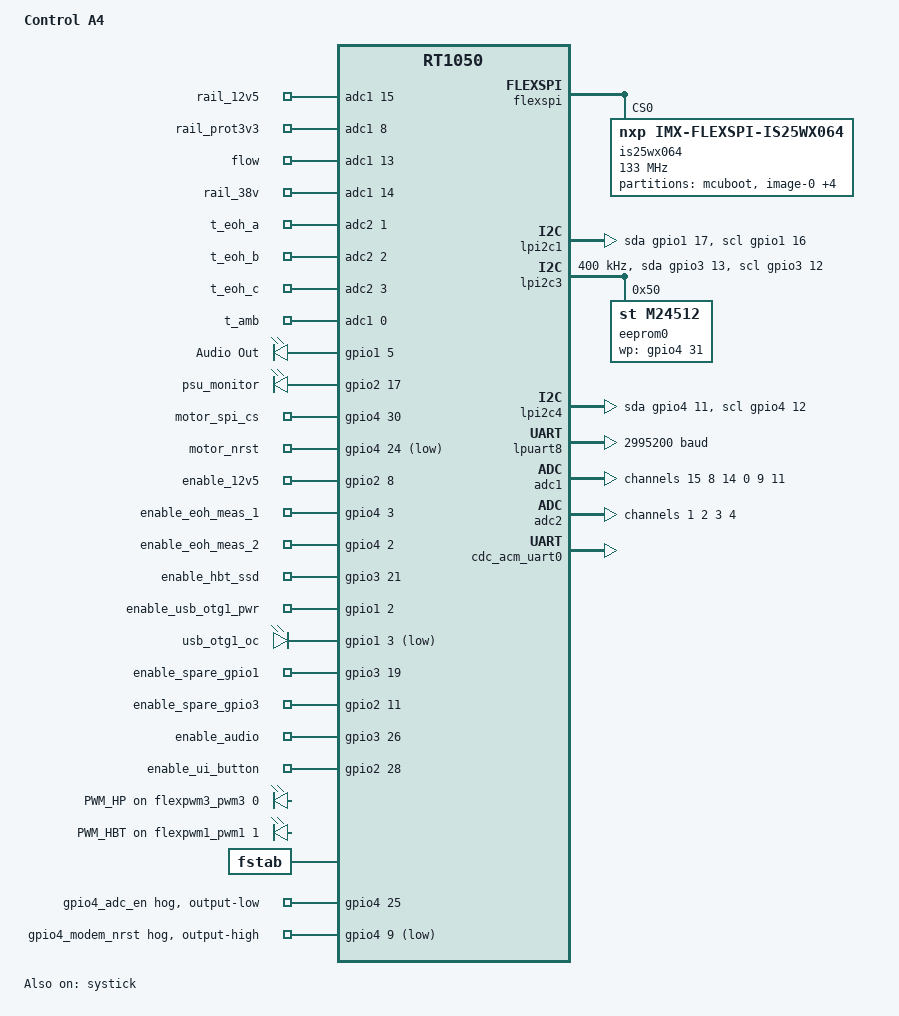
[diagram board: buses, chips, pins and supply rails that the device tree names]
/*
 * Copyright (c) 2017, NXP
 * SPDX-License-Identifier: Apache-2.0
 */

/dts-v1/;

#include <nxp/nxp_rt1050.dtsi>
#include <nxp/nxp_imx/rt/mimxrt1052cvl5b-pinctrl.dtsi> 

#include <zephyr/dt-bindings/adc/adc.h>
#include <zephyr/dt-bindings/pwm/pwm.h>
#include <zephyr/dt-bindings/spi/spi.h>
#include <zephyr/dt-bindings/memory-attr/memory-attr-arm.h>

/ {
  model = "Control A4";
  compatible = "fph,control_a4";

  aliases {
    watchdog0 = &wdog0;
    eeprom-0 = &eeprom0;
  };

  // TODO See if it's appropriate to choose these in targets repo.
  chosen {
    zephyr,sram = &dtcm;
    zephyr,itcm = &itcm;
    zephyr,dtcm = &dtcm;
    zephyr,flash-controller = &is25wx064;
    zephyr,flash = &is25wx064;
    zephyr,code-partition = &slot0_partition;
  };

  control_board: control_board {};

  zephyr,user {
    io-channels =      <&adc1 15    &adc1 8         &adc1 13 &adc1 14    &adc2 1    &adc2 2    &adc2 3    &adc1 0  &adc1 9 &adc2 4>;
    io-channel-names = "rail_12v5", "rail_prot3v3", "flow",  "rail_38v", "t_eoh_a", "t_eoh_b", "t_eoh_c", "t_amb", "t_hp", "t_cham_out";
  };

	gpios {
		compatible = "gpio-leds";
		gpio_audio_out: gpio_audio_out {
			gpios = <&gpio1 5 GPIO_ACTIVE_HIGH>;
			label = "Audio Out";
		};
    psu_monitor: psu_monitor {
      gpios = <&gpio2 17 GPIO_ACTIVE_HIGH>;
    };
    motor_spi_cs: motor_spi_cs {
      gpios = <&gpio4 30 GPIO_ACTIVE_HIGH>;
    };
    motor_nrst: motor_nrst {
      gpios = <&gpio4 24 GPIO_ACTIVE_LOW>;
    };
    enable_12v5: gpio_enable_12v5 {
      gpios = <&gpio2 8 GPIO_ACTIVE_HIGH>;
    };
    enable_eoh_meas_1: gpio_eoh_meas_en1 {
      gpios = <&gpio4 3 GPIO_ACTIVE_HIGH>;
    };
    enable_eoh_meas_2: gpio_eoh_meas_en2 {
      gpios = <&gpio4 2 GPIO_ACTIVE_HIGH>;
    };
    enable_hbt_ssd: gpio_hbt_ssd_en_c {
      gpios = <&gpio3 21 GPIO_ACTIVE_HIGH>;
    };
    enable_usb_otg1_pwr: gpio_enable_usb_otg1_pwr {
      gpios = <&gpio1 2 GPIO_ACTIVE_HIGH>;
    };
    usb_otg1_oc: gpio_usb_otg1_oc {
      gpios = <&gpio1 3 GPIO_ACTIVE_LOW>;
    };
    // TODO Renamed to TEST_MODE
    enable_spare_gpio1: gpio_enable_spare_gpio2 {
      gpios = <&gpio3 19 GPIO_ACTIVE_HIGH>; // TP520
    };
    enable_spare_gpio3: gpio_enable_spare_gpio5 {
      gpios = <&gpio2 11 GPIO_ACTIVE_HIGH>; // TP508
    };
    enable_audio: gpio_enable_audio {
      gpios = <&gpio3 26 GPIO_ACTIVE_HIGH>;
    };
    enable_ui_button: gpio_enable_ui_button {
      gpios = <&gpio2 28 GPIO_ACTIVE_HIGH>;
    };
	};

  pwm {
    compatible = "pwm-leds";

    hp_pwm: hp
    {
      pwms = <&flexpwm3_pwm3 0 PWM_MSEC(2000) PWM_POLARITY_NORMAL>;
      label = "PWM_HP";
    };
    hbt_pwm: hbt
    {
      pwms = <&flexpwm1_pwm1 1 PWM_MSEC(120) PWM_POLARITY_NORMAL>;
      label = "PWM_HBT";
    };
  };

  fstab {
    compatible = "zephyr,fstab";
    store0: store0 {
      compatible = "zephyr,fstab,littlefs";
      partition = <&data_flash_partition0>;
      mount-point = "/store0";
      read-size = <256>;
      prog-size = <256>;
      cache-size = <256>;
      lookahead-size = <512>;
      block-cycles = <100>;
      automount;
      no-format;
    };
  };

  // Resistance(25C): 10KOhm, B-Constant(25/85C): 3434K, Temperature range:0C~ 100C, Step: 1C
  // https://www.murata.com/en-sg/products/productdetail?partno=NCP18XH103F03RB
  // Generated by zephyr/scripts/utils/ntc_thermistor_table.py -r25 10000 -b 3434 -ti 0 -tf 100 -i 1
  // TODO Can this be moved closer to ADC definition?
  chamberout_temp_ntc: chamberout_temp_ntc {
    compatible = "ntc-thermistor-generic";
    status = "disabled";

    io-channels = <&adc2 4>;
    zephyr,compensation-table = <(0) 28695>, <(1) 27409>, <(2) 26189>, <(3) 25032>, <(4) 23933>, <(5) 22891>, <(6) 21900>, <(7) 20959>, <(8) 20065>, <(9) 19215>, <(10) 18407>, <(11) 17638>, <(12) 16906>, <(13) 16209>, <(14) 15545>, <(15) 14913>, <(16) 14311>, <(17) 13737>, <(18) 13190>, <(19) 12668>, <(20) 12170>, <(21) 11695>, <(22) 11241>, <(23) 10808>, <(24) 10395>, <(25) 10000>, <(26) 9622>, <(27) 9261>, <(28) 8916>, <(29) 8585>, <(30) 8269>, <(31) 7967>, <(32) 7678>, <(33) 7401>, <(34) 7135>, <(35) 6881>, <(36) 6637>, <(37) 6404>, <(38) 6180>, <(39) 5965>, <(40) 5759>, <(41) 5562>, <(42) 5372>, <(43) 5190>, <(44) 5015>, <(45) 4847>, <(46) 4686>, <(47) 4531>, <(48) 4382>, <(49) 4239>, <(50) 4102>, <(51) 3969>, <(52) 3842>, <(53) 3720>, <(54) 3602>, <(55) 3489>, <(56) 3379>, <(57) 3274>, <(58) 3173>, <(59) 3075>, <(60) 2981>, <(61) 2891>, <(62) 2804>, <(63) 2719>, <(64) 2638>, <(65) 2560>, <(66) 2484>, <(67) 2411>, <(68) 2341>, <(69) 2273>, <(70) 2208>, <(71) 2144>, <(72) 2083>, <(73) 2024>, <(74) 1967>, <(75) 1912>, <(76) 1859>, <(77) 1807>, <(78) 1758>, <(79) 1709>, <(80) 1663>, <(81) 1618>, <(82) 1574>, <(83) 1532>, <(84) 1491>, <(85) 1452>, <(86) 1413>, <(87) 1376>, <(88) 1340>, <(89) 1306>, <(90) 1272>, <(91) 1239>, <(92) 1208>, <(93) 1177>, <(94) 1147>, <(95) 1119>, <(96) 1091>, <(97) 1064>, <(98) 1037>, <(99) 1012>;
    pulldown-ohm = <0>;
    pullup-ohm = <4700>;    
    pullup-uv = <3300000>;
  };  
};

//
// Under /soc/...
// in thirdparty/zephyrproject/zephyr/dts/arm/nxp/nxp_rt10xx.dtsi
//

&systick {
  // Enable by default, core feature needed by Zephyr RTOS.
  status = "okay";
};

&flexram {
  // The early_init.S subroutine has a fixed configuration value. As we use this in all Waitara-related
  // projects, the flexram,bank-spec property needs to be deleted so that the FLEXRAM_RUNTIME_BANKS_USED
  // define is not enabled.  This define is located in the zephyr repo: drivers/memc/memc_nxp_flexram.h
  // 
  // However, the itcm, dtcm, and ocram nodes redefined below are used by the linker to verify that there is
  // no overflow. 
  itcm: itcm@0 {
    compatible = "zephyr,memory-region", "nxp,imx-itcm";
    reg = <0x00000000 DT_SIZE_K(128)>;
    zephyr,memory-region = "ITCM";
  };
 
  dtcm: dtcm@20000000 {
    compatible = "zephyr,memory-region", "nxp,imx-dtcm";
    reg = <0x20000000 DT_SIZE_K(320)>;
    zephyr,memory-region = "DTCM";
  };
 
  /* Cached OCRAM region */
  ocram_cached: ocram@20200000 {
      compatible = "zephyr,memory-region", "mmio-sram";
      reg = <0x20200000 DT_SIZE_K(32)>; 
      zephyr,memory-region = "OCRAM_CACHED";
  };

  /* Non-cached OCRAM region for DMA access*/
  ocram_nocache: ocram@20208000 {
      compatible = "zephyr,memory-region", "mmio-sram";
      reg = <0x20208000 DT_SIZE_K(32)>; 
      zephyr,memory-region = "OCRAM_NOCACHE";
      zephyr,memory-attr = < DT_MEM_ARM_MPU_RAM_NOCACHE >;
  };

  /delete-property/ flexram,bank-spec;
};

&flexspi {
  // Enable by default, program flash needed for code execution.
  status = "okay";
  pinctrl-0 = <&pinmux_flexspi1>;
  pinctrl-names = "default";
  reg = <0x402a8000 0x4000>, <0x60000000 DT_SIZE_M(8)>;
  ahb-read-addr-opt; // See AHBCR register for more details (Section 27.7.2.5.2 IMX1050 Ref. Manual)
  ahb-prefetch;
  ahb-bufferable;
  ahb-cacheable;
  combination-mode;
  rx-clock-source = <3>;
  is25wx064: is25wx064@0 {
    status = "okay";
    compatible = "nxp,imx-flexspi-is25wx064";
    size = <DT_SIZE_M(8*8)>;
    reg = <0>;
    spi-max-frequency = <133000000>;
    cs-interval = <1>;
    cs-interval-unit = <1>;
    column-space = <0>;
    word-addressable;
    cs-hold-time = <3>;
    cs-setup-time = <3>;
    data-valid-time = <1>;
    erase-block-size = <131072>;
    write-block-size = <32>;

    partitions {
      compatible = "fixed-partitions";
      #address-cells = <1>;
      #size-cells = <1>;

      boot_partition: partition@0 {
        label = "mcuboot";
        reg = <0x00000000 DT_SIZE_K(512)>;
      };
      slot0_partition: partition@80000 {
        label = "image-0";
        reg = <0x00080000 DT_SIZE_M(3)>;
      };
      // Slot swap partition needs be after slot0 to satisfy MCU boot
      // requirement of 1 sector after primary slot for swap-move
      slot_swap_move_partition: partition@380000 {
        label = "image-swap-move-sector";
        reg = <0x00380000 DT_SIZE_K(128)>;
      };
      slot1_partition: partition@3A0000 {
        label = "image-1";
        reg = <0x003A0000 DT_SIZE_M(3)>;
      };
      storage_partition: partition@6A0000 {
        label = "storage";
        reg = <0x006A0000 DT_SIZE_M(1)>;
      };
      coredump_partition: partition@7A0000 {
        reg = <0x007A0000 DT_SIZE_K(256)>;
      };
    };
  };
};

&gpt2 {
  // Base node defined in thirdparty/zephyrproject/zephyr/dts/arm/nxp/nxp_rt10xx.dtsi
  gptfreq = <22000000>; // Pro rata slowdown (600/528 => 25/22)
};

&gpio4 {
  gpio4_adc_en {
    gpio-hog;
    gpios = <25 GPIO_ACTIVE_HIGH>;
    // Default to disabled, let application enable if used.
    output-low;
  };

  gpio4_modem_nrst {
    gpio-hog;
    gpios = <9 GPIO_ACTIVE_LOW>;
    // Default to reset (ie, disabled), let application enable if used.
    output-high;
  };
};

&lpi2c1 {
  pinctrl-0 = <&pinmux_lpi2c1>;
  pinctrl-names = "default";
  
	scl-gpios = <&gpio1 16 GPIO_ACTIVE_HIGH>;
	sda-gpios = <&gpio1 17 GPIO_ACTIVE_HIGH>;

  // I2C devices on sense shield
};

&lpi2c3 {
  pinctrl-0 = <&pinmux_lpi2c3>;

  pinctrl-names = "default";
  clock-frequency = <400000>;
  
	scl-gpios = <&gpio3 12 GPIO_ACTIVE_HIGH>;
	sda-gpios = <&gpio3 13 GPIO_ACTIVE_HIGH>;

  eeprom0: eeprom@50 {
    compatible = "st,m24512", "st,m24xxx", "atmel,at24"; // m24512w is program compatible with at24
    reg = <0x50>;
    size = <DT_SIZE_K(512)>;
    pagesize = <128>;
    address-width = <16>;
    timeout = <5>;
    wp-gpios = <&gpio4 31 GPIO_ACTIVE_HIGH>;
  };
};

&lpi2c4 {
  pinctrl-0 = <&pinmux_lpi2c4>;
  pinctrl-names = "default";

	scl-gpios = <&gpio4 12 GPIO_ACTIVE_HIGH>;
	sda-gpios = <&gpio4 11 GPIO_ACTIVE_HIGH>;
  
  // I2C devices on sense shield
};

&iomuxc{
  pinctrl {
    pinmux_flexspi1: pinmux_flexspi1 {
      group0 {
        pinmux = <&iomuxc_gpio_sd_b1_05_flexspi_a_dqs>;
        drive-strength = "r0-6";
        input-schmitt-enable;
        bias-pull-down;
        bias-pull-down-value = "100k";
        slew-rate = "fast";
        nxp,speed = "200-mhz";
        input-enable;
      };

      group1 {
        pinmux = <&iomuxc_gpio_sd_b1_03_flexspi_b_data0>,
                 <&iomuxc_gpio_sd_b1_00_flexspi_b_data3>,
                 <&iomuxc_gpio_sd_b1_01_flexspi_b_data2>,
                 <&iomuxc_gpio_sd_b1_02_flexspi_b_data1>,
                 <&iomuxc_gpio_sd_b1_04_flexspi_b_sclk>,
                 <&iomuxc_gpio_sd_b1_06_flexspi_a_ss0_b>,
                 <&iomuxc_gpio_sd_b1_07_flexspi_a_sclk>,
                 <&iomuxc_gpio_sd_b1_08_flexspi_a_data0>,
                 <&iomuxc_gpio_sd_b1_09_flexspi_a_data1>,
                 <&iomuxc_gpio_sd_b1_10_flexspi_a_data2>,
                 <&iomuxc_gpio_sd_b1_11_flexspi_a_data3>;
        drive-strength = "r0-6";
        slew-rate = "fast";
        nxp,speed = "200-mhz";
        input-enable;
      };
    };

    pinmux_lpuart8: pinmux_lpuart8 {
      lpuart8_tx_pin {
        pinmux = <&iomuxc_gpio_sd_b0_04_lpuart8_tx>;
        drive-strength = "r0-3";
        nxp,speed = "100-mhz";
        slew-rate = "slow";
      };

      lpuart8_rx_pin {
        pinmux = <&iomuxc_gpio_sd_b0_05_lpuart8_rx>;
        bias-pull-up;
        bias-pull-up-value = "47k";
        drive-strength = "disabled";
        nxp,speed = "100-mhz";
        slew-rate = "slow";
      };

      lpuart8_cts_pin {
        pinmux = <&iomuxc_gpio_sd_b0_02_lpuart8_cts_b>;
        bias-pull-up;
        bias-pull-up-value = "47k";
        drive-strength = "disabled";
        nxp,speed = "100-mhz";
        slew-rate = "slow";
      };

      lpuart8_rts_pin {
        pinmux = <&iomuxc_gpio_sd_b0_03_lpuart8_rts_b>;
        drive-strength = "r0-3";
        nxp,speed = "100-mhz";
        slew-rate = "slow";
      };
    };
  
    pinmux_lpi2c1: pinmux_lpi2c1 {
      group0 {
        pinmux = <&iomuxc_gpio_ad_b1_00_lpi2c1_scl>,    // LSSB I2C1 SCL
                 <&iomuxc_gpio_ad_b1_01_lpi2c1_sda>;    // LSSB I2C1 SDA
        drive-strength = "r0-6";
        drive-open-drain;
        slew-rate = "slow";
        nxp,speed = "100-mhz";
        input-enable;
      };
    };

    pinmux_lpi2c3: pinmux_lpi2c3 {
      group0 {
        pinmux = <&iomuxc_gpio_sd_b0_01_lpi2c3_sda>,
                  <&iomuxc_gpio_sd_b0_00_lpi2c3_scl>;
        drive-strength = "r0-6";
        drive-open-drain;
        slew-rate = "slow";
        nxp,speed = "100-mhz";
        input-enable;
      };
    };

    pinmux_lpi2c4: pinmux_lpi2c4 {
      group0 {
        pinmux = <&iomuxc_gpio_emc_11_lpi2c4_sda>,
                 <&iomuxc_gpio_emc_12_lpi2c4_scl>;
        drive-strength = "r0-6";
        drive-open-drain;
        slew-rate = "slow";
        nxp,speed = "100-mhz";
        input-enable;
      };
    };
  
    pinmux_lpspi1: pinmux_lpspi1 {
      group0 {
        pinmux = <&iomuxc_gpio_emc_30_lpspi1_pcs0>,
                  <&iomuxc_gpio_emc_27_lpspi1_sck>,
                  <&iomuxc_gpio_emc_29_lpspi1_sdi>,
                  <&iomuxc_gpio_emc_28_lpspi1_sdo>;
        drive-strength = "r0-6";
        slew-rate = "slow";
        nxp,speed = "100-mhz";
      };
    };

    pinmux_lpspi3: pinmux_lpspi3 {
      group0 {
        pinmux = <&iomuxc_gpio_ad_b0_00_lpspi3_sck>,
                 <&iomuxc_gpio_ad_b0_01_lpspi3_sdo>;
        drive-strength = "r0-6";
        slew-rate = "slow";
        nxp,speed = "100-mhz";
      };
    };
  
    pinmux_lpspi4: pinmux_lpspi4 {
      group0 {
        pinmux = <&iomuxc_gpio_b0_00_lpspi4_pcs0>,
                  <&iomuxc_gpio_b0_03_lpspi4_sck>,
                  <&iomuxc_gpio_b0_01_lpspi4_sdi>,
                  <&iomuxc_gpio_b0_02_lpspi4_sdo>,
                  <&iomuxc_gpio_b1_02_lpspi4_pcs2>,
                  <&iomuxc_gpio_b1_11_lpspi4_pcs3>;
        drive-strength = "r0-6";
        slew-rate = "slow";
        nxp,speed = "100-mhz";
      };
    };
  
    pinmux_adc1: pinmux_adc1 {
      group0 {
        pinmux = <&iomuxc_gpio_ad_b1_10_adc1_in15>, // 12V5
                 <&iomuxc_gpio_ad_b1_03_adc1_in8>,  // 3V3 Prot.
                 <&iomuxc_gpio_ad_b1_09_adc1_in14>, // 38V
                 <&iomuxc_gpio_ad_b1_11_adc1_in0>,  // Ambient Temperature
                 <&iomuxc_gpio_ad_b1_04_adc1_in9>;  // Heaterplate Temperature
        bias-disable;
        drive-strength = "r0-6";
        slew-rate = "slow";
        nxp,speed = "100-mhz";
      };
    };
  
    pinmux_adc2: pinmux_adc2 {
      group0 {
        pinmux = <&iomuxc_gpio_ad_b1_12_adc2_in1>, // EOH A (End of Hose)
                 <&iomuxc_gpio_ad_b1_13_adc2_in2>, // EOH B
                 <&iomuxc_gpio_ad_b1_14_adc2_in3>, // EOH C
                 <&iomuxc_gpio_ad_b1_15_adc2_in4>; // Chamber out temperature
        bias-disable;
        drive-strength = "r0-6";
        slew-rate = "slow";
        nxp,speed = "100-mhz";
      };
    };
  
    pinmux_usb1: pinmux_usb1 {
      group0 {
        // Only OC and PWR pins can be switched by IOMUXC. DP and DN lines are dedicated and do not need
        // configuration.
        pinmux = <&iomuxc_gpio_ad_b0_03_usb_otg1_oc>,
                 <&iomuxc_gpio_ad_b0_02_usb_otg1_pwr>;
        drive-strength = "r0-6";
        slew-rate = "slow";
        nxp,speed = "150-mhz";
      };
    };
  
    pinmux_hbt: pinmux_flexpwm1 {
      group0 {
        pinmux = <&iomuxc_gpio_emc_26_flexpwm1_pwmb1>;
        drive-strength = "r0";
        bias-pull-down;
        bias-pull-down-value = "100k";
        slew-rate = "slow";
        nxp,speed = "100-mhz";
      };
    };
  
    pinmux_hp: pinmux_flexpwm3 {
      group0 {
        pinmux = <&iomuxc_gpio_emc_21_flexpwm3_pwma3>;
        drive-strength = "r0-4";
        bias-pull-down;
        bias-pull-down-value = "100k";
        slew-rate = "slow";
        nxp,speed = "100-mhz";
      };
    };
  };
};
  
&lpspi1 {
  pinctrl-0 = <&pinmux_lpspi1>;
  pinctrl-names = "default";

  lpspi_spi_slow: slow@0 {
    compatible = "ralf-motor";
    status = "disabled";

    reg = <0>;
    spi-max-frequency = <100000>;
  };
};

&lpspi3 {
  pinctrl-0 = <&pinmux_lpspi3>;
  pinctrl-names = "default";

  cs-gpios = <&gpio1 4 GPIO_ACTIVE_LOW>; // Chip select for display (ssd1363)
};

&lpspi4 {
  pinctrl-0 = <&pinmux_lpspi4>;
  pinctrl-names = "default";

  data_flash: data_flash@0 {
    compatible = "jedec,spi-nor";
    status = "disabled";

    reg = <0>;
    size = <DT_SIZE_M(16*8)>; // in unit of bits

    jedec-id = [ EF 40 20  ];
    spi-max-frequency = <50000000>;

    // Data flash size should have been increased to 256MB in Control A4 PCBA, but first batch had old 64MB
    // parts placed. In addition, data flash driver only supports 3-byte addressing, so configure as 16MB part
    // until we have need to use extra memory.

    //size = <DT_SIZE_M(256*8)>; // in unit of bits

    partitions {
      compatible = "fixed-partitions";
      #address-cells = <1>;
      #size-cells = <1>;

      data_flash_partition0: partition@0 {
        reg = <0x00000000 0x01000000>; /* 16Mbytes = 16*1024*1024 = 0x01000000 */
        //reg = <0x00000000 0x10000000>; /* 256Mbytes = 256*1024*1024 = 0x10000000 */
      };
    };
  };
};

ipc_serial: &lpuart8 {
  current-speed = <2995200>;
  pinctrl-0 = <&pinmux_lpuart8>;
  pinctrl-names = "default";
  hw-flow-control;
};

&adc1 {
  #address-cells = <1>;
  #size-cells = <0>;
  pinctrl-0 = <&pinmux_adc1>;
  pinctrl-names = "default";

  adc_12v5: channel@f {
    reg = <15>;
    zephyr,gain = "ADC_GAIN_1";
    zephyr,reference = "ADC_REF_INTERNAL";
    zephyr,acquisition-time = <ADC_ACQ_TIME_DEFAULT>;
    zephyr,resolution = <12>;
  };

  adc_3v3_p: channel@8 {
    reg = <8>;
    zephyr,gain = "ADC_GAIN_1";
    zephyr,reference = "ADC_REF_INTERNAL";
    zephyr,acquisition-time = <ADC_ACQ_TIME_DEFAULT>;
    zephyr,resolution = <12>;
  };

  adc_38v_c: channel@e {
    reg = <14>;
    zephyr,gain = "ADC_GAIN_1";
    zephyr,reference = "ADC_REF_INTERNAL";
    zephyr,acquisition-time = <ADC_ACQ_TIME_DEFAULT>;
    zephyr,resolution = <12>;
  };

  adc_ambient: channel@0 {
    reg = <0>;
    zephyr,gain = "ADC_GAIN_1";
    zephyr,reference = "ADC_REF_INTERNAL";
    zephyr,acquisition-time = <ADC_ACQ_TIME_DEFAULT>;
    zephyr,resolution = <12>;
  };

  adc_hp: channel@9 {
    reg = <9>;
    zephyr,gain = "ADC_GAIN_1";
    zephyr,reference = "ADC_REF_INTERNAL";
    zephyr,acquisition-time = <ADC_ACQ_TIME_DEFAULT>;
    zephyr,resolution = <12>;
  };

  adc_vgpio: channel@b {
    reg = <11>;
    zephyr,gain = "ADC_GAIN_1";
    zephyr,reference = "ADC_REF_INTERNAL";
    zephyr,acquisition-time = <ADC_ACQ_TIME_DEFAULT>;
    zephyr,resolution = <12>;
  };
  
  // Additional ADC channel on sense shield
};

&adc2 {
  #address-cells = <1>;
  #size-cells = <0>;
  pinctrl-0 = <&pinmux_adc2>;
  pinctrl-names = "default";

  adc_eoh_a: channel@1 {
    reg = <1>;
    zephyr,gain = "ADC_GAIN_1";
    zephyr,reference = "ADC_REF_INTERNAL";
    zephyr,acquisition-time = <ADC_ACQ_TIME_DEFAULT>;
    zephyr,resolution = <12>;
  };

  adc_eoh_b: channel@2 {
    reg = <2>;
    zephyr,gain = "ADC_GAIN_1";
    zephyr,reference = "ADC_REF_INTERNAL";
    zephyr,acquisition-time = <ADC_ACQ_TIME_DEFAULT>;
    zephyr,resolution = <12>;
  };

  adc_eoh_c: channel@3 {
    reg = <3>;
    zephyr,gain = "ADC_GAIN_1";
    zephyr,reference = "ADC_REF_INTERNAL";
    zephyr,acquisition-time = <ADC_ACQ_TIME_DEFAULT>;
    zephyr,resolution = <12>;
  };

  adc_chamber: channel@4 {
    reg = <4>;
    zephyr,gain = "ADC_GAIN_1";
    zephyr,reference = "ADC_REF_INTERNAL";
    zephyr,acquisition-time = <ADC_ACQ_TIME_DEFAULT>;
    zephyr,resolution = <12>;
  };
};

&flexpwm1_pwm1 {
  pinctrl-0 = <&pinmux_hbt>;
  pinctrl-names = "default";
};

&flexpwm3_pwm3 {
  pinctrl-0 = <&pinmux_hp>;
  pinctrl-names = "default";
};

zephyr_udc0: &usb1 {
  pinctrl-0 = <&pinmux_usb1>;
  pinctrl-names = "default";
  cdc_acm_uart0: cdc_acm_uart0 {
    compatible = "zephyr,cdc-acm-uart";
  };
};

&xbar1 {
  xbar-maps = <(32|0x100U) (34|0x100U)>, /* kXBARA1_InputQtimer3Tmr0Output ->  kXBARA1_OutputFlexpwm1ExtClk */
              <(33|0x100U) (48|0x100U)>, /* kXBARA1_InputQtimer3Tmr1Output ->  kXBARA1_OutputFlexpwm234ExtClk */
              <(1|0x100U)  (35|0x100U)>, /* kXBARA1_InputLogicHigh ->  kXBARA1_OutputFlexpwm1Fault0 */
              <(1|0x100U)  (36|0x100U)>, /* kXBARA1_InputLogicHigh ->  kXBARA1_OutputFlexpwm1Fault1 */
              <(1|0x100U)  (63|0x100U)>, /* kXBARA1_InputLogicHigh ->  kXBARA1_OutputFlexpwm4Fault0 */
              <(1|0x100U)  (64|0x100U)>, /* kXBARA1_InputLogicHigh ->  kXBARA1_OutputFlexpwm4Fault1 */
              <(1|0x100U)  (37|0x100U)>, /* kXBARA1_InputLogicHigh ->  kXBARA1_OutputFlexpwm1234Fault2 */
              <(1|0x100U)  (38|0x100U)>; /* kXBARA1_InputLogicHigh ->  kXBARA1_OutputFlexpwm1234Fault3 */
};

//
// /sysclk/...
// in thirdparty/zephyrproject/zephyr/dts/arm/nxp/nxp_rt10xx.dtsi
//

&sysclk {
  clock-frequency = <528000000>;
};
